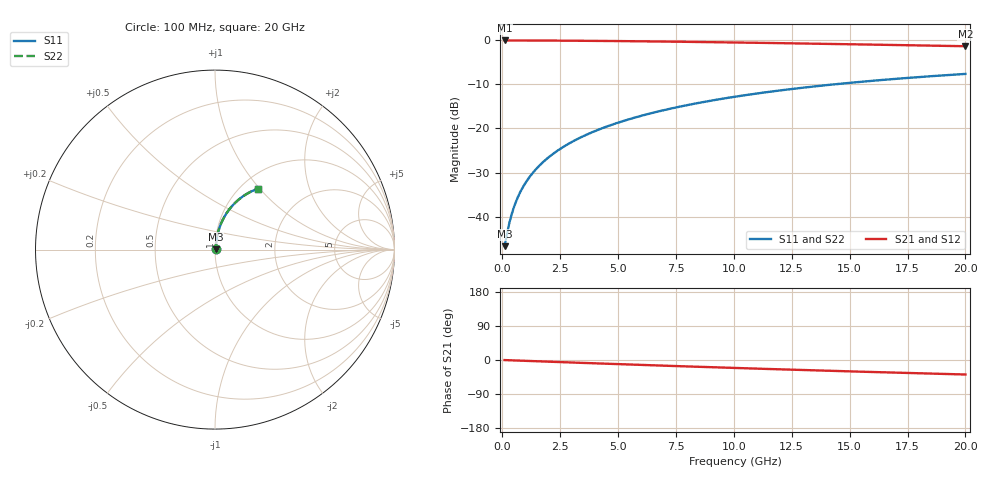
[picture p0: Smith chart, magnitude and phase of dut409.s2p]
! Touchstone file exported from HFSS 2024.1.0
!  File:  C:/UserFiles/LocalFiles/RDL_TSV_Batchsim/temp_RDL_bottom_409_1779683234.aedt
!  Generated:  12:29:41 PM May 25, 2026
!  Design:  RDL_bottom
!  Project:  temp_RDL_bottom_409_1779683234
!  Setup:  Setup1
!  Solution:  Sweep
! Variables:
!  dtsv = 10.80580581um
!  hbump = 3um
!  htsv = 56.25um
!  ldown = 523.62um
!  lrdl = 100um
!  p = 40
!  p1 = 41.38um
!  rhole = 1um
!  t = 450um
!  tdown = 3.78um
!  trdl = 3.915915916um
!  wdown = 12.81um
!  wrdl = 20um
# GHz S MA R 50.000000
! Terminal data exported
! Port[1] = RDL1_T1
! Port[2] = RDL1_T2
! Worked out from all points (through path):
!   200 points, 100 MHz to 20 GHz, reference 50 ohm
!   highest |S21| = -0.03 dB at 100 MHz (marker M1); lowest = -1.3 dB at 20 GHz (marker M2)
!   group delay of S21, straight-line fit = 5.31 ps
!   lowest |S11| = -46.7 dB at 100 MHz (marker M3), VSWR 1.01, Z = 50.4 + j0.247 ohm
!   |S11| at or under -10 dB: start of sweep to 14.32 GHz
!   |S22| runs from -46.7 to -7.6 dB; largest |S21 - S12| = 4.8e-15
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0.1  0.004617 32.1  0.9961 -0.2  0.9961 -0.2  0.004617 32.1
! Gamma 0 0 0 0
! Port Impedance 50 0 50 0
0.2  0.006308 50.7  0.996 -0.5  0.996 -0.5  0.006308 50.7
0.3  0.008357 60.5  0.9959 -0.7  0.9959 -0.7  0.008357 60.5
0.4  0.01053 66.2  0.9958 -0.9  0.9958 -0.9  0.01053 66.2
0.5  0.01275 69.8  0.9956 -1.1  0.9956 -1.1  0.01275 69.8
0.6  0.01499 72.4  0.9955 -1.4  0.9955 -1.4  0.01499 72.4
0.8  0.01951 75.6  0.9952 -1.8  0.9952 -1.8  0.01951 75.6
1.1  0.02635 78.3  0.9947 -2.5  0.9947 -2.5  0.02635 78.3
1.3  0.03093 79.4  0.9944 -2.9  0.9944 -2.9  0.03093 79.4
1.6  0.03783 80.3  0.9938 -3.6  0.9938 -3.6  0.03783 80.3
2.1  0.04937 81.0  0.9926 -4.7  0.9926 -4.7  0.04937 81.1
2.7  0.06325 81.2  0.9907 -6.0  0.9907 -6.0  0.06326 81.2
3.5  0.08176 80.7  0.9877 -7.7  0.9877 -7.7  0.08177 80.7
4.2  0.09792 80.0  0.9845 -9.2  0.9845 -9.2  0.09793 80.0
5  0.1163 79.0  0.9803 -10.9  0.9803 -10.9  0.1163 79.0
5.9  0.1369 77.7  0.975 -12.8  0.975 -12.8  0.1369 77.8
6.8  0.1573 76.4  0.9692 -14.6  0.9692 -14.6  0.1574 76.4
8.3  0.1909 74.0  0.9585 -17.6  0.9585 -17.6  0.1909 74.0
10.1  0.2301 71.0  0.9445 -21.1  0.9445 -21.1  0.2302 71.1
13.4  0.2982 65.5  0.9166 -27.2  0.9166 -27.2  0.2983 65.5
16.7  0.3603 60.0  0.8869 -32.9  0.8869 -32.9  0.3603 60.1
20  0.4155 54.8  0.8567 -38.3  0.8567 -38.3  0.4156 54.8
